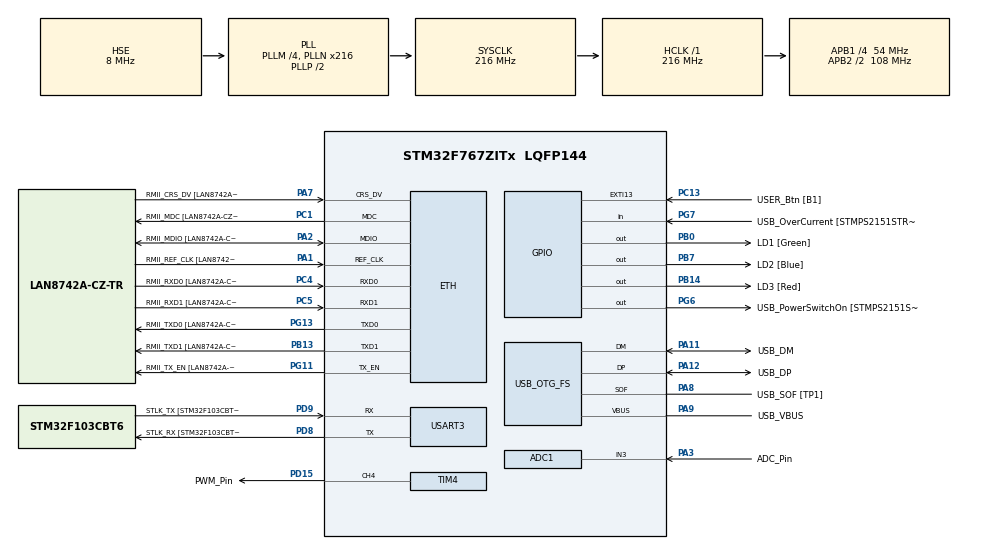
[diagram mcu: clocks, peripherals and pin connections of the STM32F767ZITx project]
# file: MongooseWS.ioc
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ADC1.Channel-0\#ChannelRegularConversion=ADC_CHANNEL_3
ADC1.NbrOfConversionFlag=1
ADC1.Rank-0\#ChannelRegularConversion=1
ADC1.SamplingTime-0\#ChannelRegularConversion=ADC_SAMPLETIME_3CYCLES
ADC1.master=1
CORTEX_M7.default_mode_Activation=1
ETH.MediaInterface=HAL_ETH_RMII_MODE
ETH.PHY_Name=LAN8742A_PHY_ADDRESS
ETH.PHY_Value=0
ETH.PhyAddress=0
Mcu.Family=STM32F7
Mcu.Name=STM32F767ZITx
Mcu.Package=LQFP144
NVIC.ETH_IRQn=true\:0\:0\:false\:false\:false\:true\:true\:true
NVIC.PriorityGroup=NVIC_PRIORITYGROUP_4
PA1.GPIO_Label=RMII_REF_CLK [LAN8742A-CZ-TR_REFCLK0]
PA1.Mode=RMII
PA1.Signal=ETH_REF_CLK
PA10.GPIO_Label=USB_ID
PA10.Signal=USB_OTG_FS_ID
PA11.GPIO_Label=USB_DM
PA11.Mode=Device_Only
PA11.Signal=USB_OTG_FS_DM
PA12.GPIO_Label=USB_DP
PA12.Mode=Device_Only
PA12.Signal=USB_OTG_FS_DP
PA13.GPIO_Label=TMS
PA13.Mode=Serial_Wire
PA13.Signal=SYS_JTMS-SWDIO
PA14.GPIO_Label=TCK
PA14.Mode=Serial_Wire
PA14.Signal=SYS_JTCK-SWCLK
PA2.GPIO_Label=RMII_MDIO [LAN8742A-CZ-TR_MDIO]
PA2.Mode=RMII
PA2.Signal=ETH_MDIO
PA3.GPIO_Label=ADC_Pin
PA3.Signal=ADCx_IN3
PA7.GPIO_Label=RMII_CRS_DV [LAN8742A-CZ-TR_CRS_DV]
PA7.Mode=RMII
PA7.Signal=ETH_CRS_DV
PA8.GPIO_Label=USB_SOF [TP1]
PA8.Mode=Activate_SOF_FS
PA8.Signal=USB_OTG_FS_SOF
PA9.GPIO_Label=USB_VBUS
PA9.Mode=Activate_VBUS
PA9.Signal=USB_OTG_FS_VBUS
PB0.GPIO_Label=LD1 [Green]
PB0.Signal=GPIO_Output
PB13.GPIO_Label=RMII_TXD1 [LAN8742A-CZ-TR_TXD1]
PB13.Mode=RMII
PB13.Signal=ETH_TXD1
PB14.GPIO_Label=LD3 [Red]
PB14.Signal=GPIO_Output
PB3.GPIO_Label=SWO
PB3.Signal=SYS_JTDO-SWO
PB7.GPIO_Label=LD2 [Blue]
PB7.Signal=GPIO_Output
PC1.GPIO_Label=RMII_MDC [LAN8742A-CZ-TR_MDC]
PC1.Mode=RMII
PC1.Signal=ETH_MDC
PC13.GPIO_Label=USER_Btn [B1]
PC13.Signal=GPXTI13
PC14/OSC32_IN.Mode=LSE-External-Oscillator
PC14/OSC32_IN.Signal=RCC_OSC32_IN
PC15/OSC32_OUT.Mode=LSE-External-Oscillator
PC15/OSC32_OUT.Signal=RCC_OSC32_OUT
PC4.GPIO_Label=RMII_RXD0 [LAN8742A-CZ-TR_RXD0]
PC4.Mode=RMII
PC4.Signal=ETH_RXD0
PC5.GPIO_Label=RMII_RXD1 [LAN8742A-CZ-TR_RXD1]
PC5.Mode=RMII
PC5.Signal=ETH_RXD1
PD15.GPIO_Label=PWM_Pin
PD15.Signal=S_TIM4_CH4
PD8.GPIO_Label=STLK_RX [STM32F103CBT6_PA3]
PD8.Mode=Asynchronous
PD8.Signal=USART3_TX
PD9.GPIO_Label=STLK_TX [STM32F103CBT6_PA2]
PD9.Mode=Asynchronous
PD9.Signal=USART3_RX
PG11.GPIO_Label=RMII_TX_EN [LAN8742A-CZ-TR_TXEN]
PG11.Mode=RMII
PG11.Signal=ETH_TX_EN
PG13.GPIO_Label=RMII_TXD0 [LAN8742A-CZ-TR_TXD0]
PG13.Mode=RMII
PG13.Signal=ETH_TXD0
PG6.GPIO_Label=USB_PowerSwitchOn [STMPS2151STR_EN]
PG6.Signal=GPIO_Output
PG7.GPIO_Label=USB_OverCurrent [STMPS2151STR_FAULT]
PG7.Signal=GPIO_Input
PH0/OSC_IN.GPIO_Label=MCO [STM32F103CBT6_PA8]
PH0/OSC_IN.Mode=HSE-External-Clock-Source
PH0/OSC_IN.Signal=RCC_OSC_IN
PH1/OSC_OUT.Mode=HSE-External-Clock-Source
PH1/OSC_OUT.Signal=RCC_OSC_OUT
ProjectManager.HeapSize=0x200
ProjectManager.StackSize=0x400
ProjectManager.TargetToolchain=STM32CubeIDE
RCC.48MHZClocksFreq_Value=24000000
RCC.AHBFreq_Value=216000000
RCC.APB1CLKDivider=RCC_HCLK_DIV4
RCC.APB1Freq_Value=54000000
RCC.APB1TimFreq_Value=108000000
RCC.APB2CLKDivider=RCC_HCLK_DIV2
RCC.APB2Freq_Value=108000000
RCC.APB2TimFreq_Value=216000000
RCC.CortexFreq_Value=216000000
RCC.HCLKFreq_Value=216000000
RCC.HSE_VALUE=8000000
RCC.HSI_VALUE=16000000
RCC.PLLM=4
RCC.PLLMUL=RCC_PLL_MUL9
RCC.PLLN=216
RCC.PLLQ=9
RCC.PRESCALERUSB=RCC_USBCLKSOURCE_PLL_DIV1_5
RCC.SYSCLKFreq_VALUE=216000000
RCC.SYSCLKSource=RCC_SYSCLKSOURCE_PLLCLK
RCC.SYSCLKSourceVirtual=RCC_SYSCLKSOURCE_PLLCLK
RCC.USBFreq_Value=48000000
RCC.VCOOutputFreq_Value=432000000
SH.ADCx_IN3.0=ADC1_IN3,IN3
SH.S_TIM4_CH4.0=TIM4_CH4,PWM Generation4 CH4
TIM4.Channel-PWM\ Generation4\ CH4=TIM_CHANNEL_4
TIM4.Period=100-1
TIM4.Prescaler=1600-1
USART3.VirtualMode-Asynchronous=VM_ASYNC
USB_OTG_FS.VirtualMode=Device_Only
VP_RNG_VS_RNG.Mode=RNG_Activate
VP_TIM4_VS_ClockSourceINT.Mode=Internal
board=NUCLEO-F767ZI

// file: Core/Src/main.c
/* USER CODE BEGIN Header */
/**
  ******************************************************************************
  * @file           : main.c
  * @brief          : Main program body
  ******************************************************************************
  * @attention
  *
  * Copyright (c) 2026 STMicroelectronics.
  * All rights reserved.
  *
  * This software is licensed under terms that can be found in the LICENSE file
  * in the root directory of this software component.
  * If no LICENSE file comes with this software, it is provided AS-IS.
  *
  ******************************************************************************
  */
/* USER CODE END Header */
#include "main.h"
#include "adc.h"
#include "eth.h"
#include "rng.h"
#include "tim.h"
#include "usart.h"
#include "usb_otg.h"
#include "gpio.h"

/* USER CODE BEGIN Includes */
#include "stdio.h"

#include "mongoose_glue.h"
#include "mongoose.h"
#include <time.h>
/* USER CODE END Includes */

void SystemClock_Config(void);
static void MPU_Config(void);

/* USER CODE BEGIN 0 */

/**
 * Prints full date, day, and time based on ms and GMT offset
 * @param ms_since_1970: The raw millisecond value
 * @param offset_hours:  The timezone offset (e.g., 3 for Iraq)
 */
void print_full_date_time(unsigned long long ms_since_1970, int offset_hours) {
    // 1. Convert ms to seconds and apply GMT offset
    time_t total_seconds = (time_t)(ms_since_1970 / 1000);
    total_seconds += (offset_hours * 3600);

    // 2. Break down into components
    struct tm *t = gmtime(&total_seconds);

    // Day of the week names
    const char *days[] = {"Sunday", "Monday", "Tuesday", "Wednesday", "Thursday", "Friday", "Saturday"};
    // Month names (optional, but cleaner than numbers)
    const char *months[] = {"Jan", "Feb", "Mar", "Apr", "May", "Jun", "Jul", "Aug", "Sep", "Oct", "Nov", "Dec"};

    if (t != NULL) {
        printf("--- System Time Update ---\n");
        // tm_wday: 0=Sunday, tm_year: years since 1900, tm_mon: 0-11
        printf("Day:  %s\n", days[t->tm_wday]);
        printf("Date: %02d %s %04d\n", t->tm_mday, months[t->tm_mon], t->tm_year + 1900);
        printf("Time: %02d:%02d:%02d (GMT%+d)\n", t->tm_hour, t->tm_min, t->tm_sec, offset_hours);
        printf("--------------------------\n");
    }
}

int _write(int fd, unsigned char *buf, int len)
{
  if (fd == 1 || fd == 2)
  {                     // stdout or stderr ?
    HAL_UART_Transmit(&huart3, buf, len, 999);  // Print to the UART
  }
  return len;
}

uint64_t mg_millis(void)
{
  return HAL_GetTick();
}

bool mg_random(void *buf, size_t len)
{  // Use on-board RNG
  for (size_t n = 0; n < len; n += sizeof(uint32_t))
  {
    uint32_t r;
    HAL_RNG_GenerateRandomNumber(&hrng, &r);
    memcpy((char *) buf + n, &r, n + sizeof(r) > len ? len - n : sizeof(r));
  }
  return true; // TODO(): ensure successful RNG init, then return on false above
}

/* USER CODE END 0 */

int main(void)
{

  /* MPU Configuration--------------------------------------------------------*/
  MPU_Config();

  /* MCU Configuration--------------------------------------------------------*/

  /* Reset of all peripherals, Initializes the Flash interface and the Systick. */
  HAL_Init();

  /* Configure the system clock */
  SystemClock_Config();

  /* Initialize all configured peripherals */
  MX_GPIO_Init();
  MX_ETH_Init();
  MX_RNG_Init();
  MX_USART3_UART_Init();
  MX_USB_OTG_FS_PCD_Init();
  MX_ADC1_Init();
  MX_TIM4_Init();
  /* USER CODE BEGIN 2 */

  HAL_TIM_PWM_Start(&htim4, TIM_CHANNEL_4);

  mongoose_init();

  /* USER CODE END 2 */

  /* Infinite loop */
  while (1)
  {

    /* USER CODE BEGIN 3 */
	  mongoose_poll();

	  if(HAL_GetTick()%1000==0)
	  {
		  print_full_date_time(mg_now(),3);
	  }

  }
  /* USER CODE END 3 */
}

void SystemClock_Config(void)
{
  RCC_OscInitTypeDef RCC_OscInitStruct = {0};
  RCC_ClkInitTypeDef RCC_ClkInitStruct = {0};

  /** Configure LSE Drive Capability
  */
  HAL_PWR_EnableBkUpAccess();

  /** Configure the main internal regulator output voltage
  */
  __HAL_RCC_PWR_CLK_ENABLE();
  __HAL_PWR_VOLTAGESCALING_CONFIG(PWR_REGULATOR_VOLTAGE_SCALE1);

  /** Initializes the RCC Oscillators according to the specified parameters
  * in the RCC_OscInitTypeDef structure.
  */
  RCC_OscInitStruct.OscillatorType = RCC_OSCILLATORTYPE_HSE;
  RCC_OscInitStruct.HSEState = RCC_HSE_BYPASS;
  RCC_OscInitStruct.PLL.PLLState = RCC_PLL_ON;
  RCC_OscInitStruct.PLL.PLLSource = RCC_PLLSOURCE_HSE;
  RCC_OscInitStruct.PLL.PLLM = 4;
  RCC_OscInitStruct.PLL.PLLN = 216;
  RCC_OscInitStruct.PLL.PLLP = RCC_PLLP_DIV2;
  RCC_OscInitStruct.PLL.PLLQ = 9;
  RCC_OscInitStruct.PLL.PLLR = 2;
  if (HAL_RCC_OscConfig(&RCC_OscInitStruct) != HAL_OK)
  {
    Error_Handler();
  }

  /** Activate the Over-Drive mode
  */
  if (HAL_PWREx_EnableOverDrive() != HAL_OK)
  {
    Error_Handler();
  }

  /** Initializes the CPU, AHB and APB buses clocks
  */
  RCC_ClkInitStruct.ClockType = RCC_CLOCKTYPE_HCLK|RCC_CLOCKTYPE_SYSCLK
                              |RCC_CLOCKTYPE_PCLK1|RCC_CLOCKTYPE_PCLK2;
  RCC_ClkInitStruct.SYSCLKSource = RCC_SYSCLKSOURCE_PLLCLK;
  RCC_ClkInitStruct.AHBCLKDivider = RCC_SYSCLK_DIV1;
  RCC_ClkInitStruct.APB1CLKDivider = RCC_HCLK_DIV4;
  RCC_ClkInitStruct.APB2CLKDivider = RCC_HCLK_DIV2;

  if (HAL_RCC_ClockConfig(&RCC_ClkInitStruct, FLASH_LATENCY_7) != HAL_OK)
  {
    Error_Handler();
  }
}

 /* MPU Configuration */

void MPU_Config(void)
{
  MPU_Region_InitTypeDef MPU_InitStruct = {0};

  /* Disables the MPU */
  HAL_MPU_Disable();

  /** Initializes and configures the Region and the memory to be protected
  */
  MPU_InitStruct.Enable = MPU_REGION_ENABLE;
  MPU_InitStruct.Number = MPU_REGION_NUMBER0;
  MPU_InitStruct.BaseAddress = 0x0;
  MPU_InitStruct.Size = MPU_REGION_SIZE_4GB;
  MPU_InitStruct.SubRegionDisable = 0x87;
  MPU_InitStruct.TypeExtField = MPU_TEX_LEVEL0;
  MPU_InitStruct.AccessPermission = MPU_REGION_NO_ACCESS;
  MPU_InitStruct.DisableExec = MPU_INSTRUCTION_ACCESS_DISABLE;
  MPU_InitStruct.IsShareable = MPU_ACCESS_SHAREABLE;
  MPU_InitStruct.IsCacheable = MPU_ACCESS_NOT_CACHEABLE;
  MPU_InitStruct.IsBufferable = MPU_ACCESS_NOT_BUFFERABLE;

  HAL_MPU_ConfigRegion(&MPU_InitStruct);
  /* Enables the MPU */
  HAL_MPU_Enable(MPU_PRIVILEGED_DEFAULT);

}

void Error_Handler(void)
{
  __disable_irq();
  while (1)
  {
  }
}
